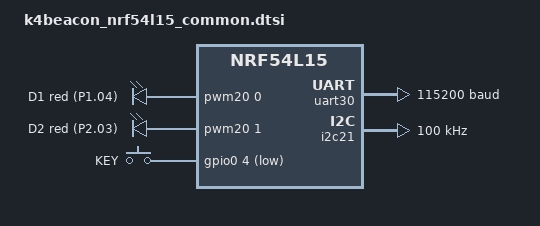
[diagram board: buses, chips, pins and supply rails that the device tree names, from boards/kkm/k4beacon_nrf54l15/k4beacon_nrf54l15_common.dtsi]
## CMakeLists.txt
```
cmake_minimum_required(VERSION 3.20.0)

# The K4 board definition is out-of-tree, shipped inside this project at
# boards/kkm/k4beacon_nrf54l15/.
list(APPEND BOARD_ROOT ${CMAKE_CURRENT_SOURCE_DIR})

find_package(Zephyr REQUIRED HINTS $ENV{ZEPHYR_BASE})

project(k4hello)

target_include_directories(app PRIVATE
    ${CMAKE_CURRENT_SOURCE_DIR}/../../../include  # aura_radio.h - protocol truth
    ${CMAKE_CURRENT_SOURCE_DIR}/../../common      # aura_band.h  - shared band layer
)

target_sources(app PRIVATE src/main.c)

target_sources_ifdef(CONFIG_K4_APP_SWEEP  app PRIVATE src/pin_sweep.c)
target_sources_ifdef(CONFIG_K4_APP_BEACON   app PRIVATE src/beacon_app.c)
target_sources_ifdef(CONFIG_K4_APP_PINPROBE app PRIVATE src/pin_probe.c)

# Same switch the pixel module uses: the shared band layer needs the 802.15.4
# stack, so key it off the Kconfig rather than a second CMake flag that has to
# agree with it.
if((CONFIG_K4_APP_BEACON OR CONFIG_K4_APP_PINPROBE) AND CONFIG_IEEE802154)
  target_sources(app PRIVATE ../../common/aura_band.c)
endif()
```

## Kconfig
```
# SPDX-License-Identifier: Apache-2.0

choice K4_APP
	prompt "K4 application"
	default K4_APP_BEACON

config K4_APP_BEACON
	bool "Aetherfield v2 band (default)"
	help
	  Joins the fleet using the shared AURA/common/aura_band.c and paints
	  the commanded colour onto both red LEDs. Watch for it on the gateway
	  console; drive it with `aura color` / `aura anim`.

config K4_APP_PINPROBE
	bool "Radio-narrated GPIO pin probe"
	help
	  Beacons normally AND walks every GPIO, announcing each pin over the
	  radio just before driving it. Watch the LED, read the pin off the
	  gateway log. Needs no console and no schematic.

config K4_APP_SWEEP
	bool "Offline GPIO pin sweep"
	help
	  Timed walk of all 32 GPIOs, radio off, read with a stopwatch.
	  Pair with overlays/sweep.overlay. Superseded by the radio probe.

config K4_APP_BREATHE
	bool "Hello world: pulse one LED"
	help
	  Identifies both LEDs with a flash count, then breathes one of them.
	  Radio off.

endchoice

config K4_BREATHE_D2
	bool "Breathe D2 (P2.03) instead of D1 (P1.04)"
	depends on K4_APP_BREATHE
	help
	  Which LED the hello-world breathes. D1 is the default on the
	  assumption that it is the top one; the app's boot flashes identify
	  both, so switch here if the count says otherwise.


source "Kconfig.zephyr"
```

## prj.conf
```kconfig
# ============================================================================
# K4 Beacon (nRF54L15) -- Aetherfield v2 band (default application)
#
# Joins the fleet using the shared AURA/common/aura_band.c and paints the
# commanded colour onto the two red LEDs.
#
# Matched deliberately to AURA/pixel-xiao-nRF54 and AURA/seeedFirmware, which
# are WORKING BANDS on this silicon running the identical aura_band.c.
# ============================================================================

# --- 802.15.4 raw mode: the driver hands full PSDUs to the band layer's
#     net_recv_data() override, same mechanism as the gateway. ---
CONFIG_NETWORKING=y
CONFIG_IEEE802154=y
CONFIG_IEEE802154_RAW_MODE=y
CONFIG_NET_PKT_TIMESTAMP=y
CONFIG_NRF_802154_RX_BUFFERS=120

# --- The FICR device id becomes the 16-bit short address: no provisioning ---
CONFIG_HWINFO=y

# --- The two red LEDs, D1 on P1.04 and D2 on P2.03 (PWM20 OUT0 / OUT1) ---
CONFIG_PWM=y
CONFIG_GPIO=y

# --- main() stack ---
#
# NOT a tuning knob. main() runs the whole of aura_band_init(); MPSL and the
# 802.15.4 stack come up underneath it. The Seeed board defconfig supplies
# 3584 for exactly this reason -- our K4 board defconfig does not, so it must
# be stated here or Zephyr's much smaller default applies.
#
# The failure mode is not a clean stack-overflow fault: it scribbles into low
# RAM, which is where .data lives (_sw_isr_table, the net_buf pools). Both were
# seen corrupted on the pixel module. Do not lower this.
CONFIG_MAIN_STACK_SIZE=3584

# --- LF clock: internal RC ---
# The 32.768 kHz crystal IS fitted (X1, 7 pF), but the correct
# load-capacitance-femtofarad is unsettled -- see the note in the board .dts.
# Calibrated RC is ~250 ppm and fine for beaconing. Switch with
# lfxo.conf + overlays/lfxo.overlay when SYNC accuracy matters.
CONFIG_CLOCK_CONTROL_NRF_K32SRC_RC=y

# --- Console on UART30, P0.00 / P0.01 test points ---
#
# This board's first real console. The gateway is still the more convenient
# one (no wiring), but a serial line sees boot failures the radio never
# reaches. Strip both with lowpower.conf for battery operation.
CONFIG_LOG=y
CONFIG_LOG_BACKEND_UART=y

# --- Power: DCDC (L3 4.7 uH is populated -- see the board .dts) ---
CONFIG_REGULATOR=y
```

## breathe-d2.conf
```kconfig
# Pulse D2 (P2.03) instead of D1 (P1.04).
# Add ALONGSIDE breathe.conf, not instead of it.
CONFIG_K4_BREATHE_D2=y
```

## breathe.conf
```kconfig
# ============================================================================
# K4 hello world -- pulse one LED.
#
#     Extra Kconfig fragments: breathe.conf
#     (add breathe-d2.conf as well to pulse the other LED)
#
# What you should see, in order:
#
#     1 flash   D1  (P1.04)      <- watch which face this is on
#     2 flashes D2  (P2.03)
#     then a continuous ~3 s breathe on D1
#
# D1 is assumed to be the TOP LED, by elimination: D2/P2.03 is the one that lit
# during the pin probe while the bottom face was being watched. The schematic
# names nets, not faces, so the flash count above is what actually settles it.
# If D1 turns out to be the bottom one, add breathe-d2.conf.
#
# Radio off -- this is a pure LED test. The default (no fragment) build keeps
# the radio and drives both LEDs from the gateway instead.
# ============================================================================

CONFIG_K4_APP_BREATHE=y
CONFIG_PWM=y

CONFIG_NETWORKING=n
CONFIG_IEEE802154=n
```

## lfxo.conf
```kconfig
# Select the 32.768 kHz crystal instead of the internal RC.
# Use TOGETHER with overlays/lfxo.overlay -- the Kconfig choice and the
# devicetree node have to agree or the board waits on a clock it never gets.
CONFIG_CLOCK_CONTROL_NRF_K32SRC_XTAL=y
```

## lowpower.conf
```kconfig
# ============================================================================
# K4 -- low-power fragment. Layer on top of prj.conf for battery operation.
#
# Strips the UART console and logging. Keep it as a SEPARATE build
# configuration rather than editing prj.conf: losing the console is what makes
# a misbehaving board undiagnosable, and bring-up should stay one click away.
# ============================================================================

CONFIG_SERIAL=n
CONFIG_UART_CONSOLE=n
CONFIG_CONSOLE=n
CONFIG_LOG=n
CONFIG_BOOT_BANNER=n
CONFIG_NCS_BOOT_BANNER=n
```

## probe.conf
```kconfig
# ============================================================================
# K4 -- radio-narrated GPIO pin probe.
#
#     Extra Kconfig fragments: probe.conf
#
# Largely of historical interest now that the schematic has landed: the LEDs
# are D1 = P1.04 and D2 = P2.03, both active high. Kept because it is the tool
# that found them, and because it is the right first move on the next unknown
# board.
# ============================================================================

CONFIG_K4_APP_PINPROBE=y

# P1.02 / P1.03 are NFC1 / NFC2 and refuse gpio_pin_configure while NFCT owns
# them. The schematic shows nothing attached to either, so this is no longer
# needed to find anything -- left on so the probe reports honestly rather than
# logging two s=3 refusals.
#
# UICR is written at boot and takes effect after a RESET: power-cycle once
# after flashing. Reversible with a mass-erase.
CONFIG_NFCT_PINS_AS_GPIOS=y
```

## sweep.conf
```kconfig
# ============================================================================
# K4 -- GPIO pin sweep instead of the beacon.
#
#     Extra Kconfig fragments  : sweep.conf
#     Extra devicetree overlays: overlays/sweep.overlay
#
# The overlay disables pwm20 so the sweep can drive P1.10 as a plain GPIO.
# ============================================================================

CONFIG_K4_APP_SWEEP=y

# The sweep does not use the radio; dropping it keeps the image small and
# removes MPSL from the boot path, so a sweep that stays dark is a shorter
# list of suspects.
CONFIG_NETWORKING=n
CONFIG_IEEE802154=n
```

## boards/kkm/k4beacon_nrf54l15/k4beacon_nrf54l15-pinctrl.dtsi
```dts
/*
 * Copyright (c) 2026
 * SPDX-License-Identifier: Apache-2.0
 *
 * K4 Beacon pin control -- FROM THE SCHEMATIC (K4_nRF54L15_SCH V1.1),
 * received 2026-09-11. No longer inferred from anything.
 *
 *   LED1  D1  red 0603, R1 1 k   P1.04/AIN0   PWM20 OUT0
 *   LED2  D2  red 0603, R3 1 k   P2.03        PWM20 OUT1
 *   KEY   SW1 to GND             P0.04
 *   RXD                          P0.00        UART30
 *   TXD                          P0.01        UART30
 *   SCL   LIS2DW12               P1.08/CLK16M I2C21
 *   SDA   LIS2DW12               P1.06/AIN2   I2C21
 *   INT1  LIS2DW12               P1.13/AIN6
 *   INT2  LIS2DW12               P1.14/AIN7
 *   (P1.05/AIN1 is labelled OUTPUT in the schematic's signal table with no
 *    component attached -- purpose unknown, left alone.)
 *
 * BOTH LEDs ARE ACTIVE HIGH: each net goes through a 1 k resistor into the
 * LED anode, cathode to GND. The K7's part is common-anode, i.e. the opposite,
 * which is why the K7-derived guess could never have worked.
 *
 * THE UART IS UART30, NOT UART20. P0.00/P0.01 are in the nRF54L15 low-power
 * domain, which only the "30" peripheral instances can reach. A uart20 on
 * these pins would build and then do nothing.
 */

&pinctrl {
	/omit-if-no-ref/ pwm20_default: pwm20_default {
		group1 {
			psels = <NRF_PSEL(PWM_OUT0, 1, 4)>,
				<NRF_PSEL(PWM_OUT1, 2, 3)>;
		};
	};

	/omit-if-no-ref/ pwm20_sleep: pwm20_sleep {
		group1 {
			psels = <NRF_PSEL(PWM_OUT0, 1, 4)>,
				<NRF_PSEL(PWM_OUT1, 2, 3)>;
			low-power-enable;
		};
	};

	/omit-if-no-ref/ uart30_default: uart30_default {
		group1 {
			psels = <NRF_PSEL(UART_TX, 0, 1)>;
		};
		group2 {
			psels = <NRF_PSEL(UART_RX, 0, 0)>;
			bias-pull-up;
		};
	};

	/omit-if-no-ref/ uart30_sleep: uart30_sleep {
		group1 {
			psels = <NRF_PSEL(UART_TX, 0, 1)>,
				<NRF_PSEL(UART_RX, 0, 0)>;
			low-power-enable;
		};
	};

	/omit-if-no-ref/ i2c21_default: i2c21_default {
		group1 {
			psels = <NRF_PSEL(TWIM_SDA, 1, 6)>,
				<NRF_PSEL(TWIM_SCL, 1, 8)>;
			bias-pull-up;
		};
	};

	/omit-if-no-ref/ i2c21_sleep: i2c21_sleep {
		group1 {
			psels = <NRF_PSEL(TWIM_SDA, 1, 6)>,
				<NRF_PSEL(TWIM_SCL, 1, 8)>;
			low-power-enable;
		};
	};
};
```

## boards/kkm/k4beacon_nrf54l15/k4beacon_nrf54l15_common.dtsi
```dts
/*
 * Copyright (c) 2026
 * SPDX-License-Identifier: Apache-2.0
 */

#include "k4beacon_nrf54l15-pinctrl.dtsi"
#include <zephyr/dt-bindings/pwm/pwm.h>
#include <zephyr/dt-bindings/gpio/gpio.h>
#include <zephyr/dt-bindings/input/input-event-codes.h>

/ {
	/*
	 * Two single-colour RED LEDs, both ACTIVE HIGH (1 k series resistor
	 * into the anode, cathode to GND). PWM_POLARITY_NORMAL: duty 0 % off,
	 * 100 % full.
	 *
	 * Brightness ceiling, worth knowing before designing any animation:
	 * 1 k from a ~3.0 V cell with a red Vf of ~1.9 V is about 1.1 mA. That
	 * is an indicator, not an illuminator -- the same concession the
	 * Holyiot 25008 makes with its 1 k RGB resistors. It is also why a
	 * whole GPIO sweep could flash these without anyone noticing.
	 *
	 * 1 kHz period: flicker-free on camera, and 16 MHz / 1 kHz = 16000
	 * counts, under the nRF PWM COUNTERTOP limit of 32767.
	 */
	pwmleds: pwmleds {
		compatible = "pwm-leds";

		led_d1: led_d1 {
			pwms = <&pwm20 0 PWM_USEC(1000) PWM_POLARITY_NORMAL>;
			label = "D1 red (P1.04)";
		};

		led_d2: led_d2 {
			pwms = <&pwm20 1 PWM_USEC(1000) PWM_POLARITY_NORMAL>;
			label = "D2 red (P2.03)";
		};
	};

	/* SW1 (1TS002B-1600-5001) to GND on net KEY. No external pull-up on
	 * the schematic, so the internal one is not optional. */
	buttons: buttons {
		compatible = "gpio-keys";

		usr_btn: usr-btn {
			gpios = <&gpio0 4 (GPIO_PULL_UP | GPIO_ACTIVE_LOW)>;
			label = "KEY";
			zephyr,code = <INPUT_KEY_0>;
		};
	};

	aliases {
		led0 = &led_d1;
		led1 = &led_d2;
		pwm-led0 = &led_d1;
		pwm-led1 = &led_d2;
		sw0 = &usr_btn;
	};
};

&pwm20 {
	pinctrl-0 = <&pwm20_default>;
	pinctrl-1 = <&pwm20_sleep>;
	pinctrl-names = "default", "sleep";
};

&uart30 {
	current-speed = <115200>;
	pinctrl-0 = <&uart30_default>;
	pinctrl-1 = <&uart30_sleep>;
	pinctrl-names = "default", "sleep";
};

&i2c21 {
	compatible = "nordic,nrf-twim";
	clock-frequency = <I2C_BITRATE_STANDARD>;
	pinctrl-0 = <&i2c21_default>;
	pinctrl-1 = <&i2c21_sleep>;
	pinctrl-names = "default", "sleep";

	/*
	 * LIS2DW12TR. CS tied to VDDS selects I2C; SDO/SA0 also tied to VDDS,
	 * so the 7-bit address is 0x19 (it would be 0x18 with SA0 low).
	 * Enable with CONFIG_I2C=y, CONFIG_SENSOR=y, CONFIG_LIS2DW12=y.
	 */
	lis2dw12: lis2dw12@19 {
		compatible = "st,lis2dw12";
		reg = <0x19>;
		status = "disabled";
		irq-gpios = <&gpio1 13 GPIO_ACTIVE_HIGH>,
			    <&gpio1 14 GPIO_ACTIVE_HIGH>;
	};
};
```

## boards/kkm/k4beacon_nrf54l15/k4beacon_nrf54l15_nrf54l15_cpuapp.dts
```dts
/*
 * Copyright (c) 2026
 * SPDX-License-Identifier: Apache-2.0
 *
 * KKM K4 Beacon, nRF54L15 (QFAA die, 1.5 MB RRAM / 256 kB RAM).
 *
 * Built from the schematic K4_nRF54L15_SCH V1.1 (2026-09-11). The earlier
 * revision of this file was inferred from the K7 and was wrong about the LED
 * port, the LED polarity, the button pin and the UART instance. Nothing here
 * is a guess any more except where it says so.
 */

/dts-v1/;
#include <nordic/nrf54l15_cpuapp.dtsi>
#include "k4beacon_nrf54l15_common.dtsi"

/ {
	model = "KKM K4 Beacon nRF54L15";
	compatible = "kkm,k4beacon-nrf54l15-cpuapp";

	chosen {
		zephyr,sram = &cpuapp_sram;
		zephyr,flash = &cpuapp_rram;
		zephyr,flash-controller = &rram_controller;
		zephyr,console = &uart30;
		zephyr,shell-uart = &uart30;
		zephyr,ieee802154 = &ieee802154;
	};
};

&cpuapp_sram {
	status = "okay";
};

&grtc {
	owned-channels = <0 1 2 3 4 5 6 7 8 9 10 11>;
	/* Channels 7-11 reserved for Zero Latency IRQs, 3-4 for FLPR */
	child-owned-channels = <3 4 7 8 9 10 11>;
	status = "okay";
};

&clock {
	status = "okay";
};

&pwm20 {
	status = "okay";
};

/* Console on the RXD / TXD test points, P0.00 / P0.01.
 * UART30, not UART20: P0 is the low-power domain and only the "30"
 * instances reach it. This board's first real console. */
&uart30 {
	status = "okay";
};

/* LIS2DW12 bus. The sensor node itself is disabled until someone needs it. */
&i2c21 {
	status = "okay";
};

&gpio0 {
	status = "okay";
};

&gpio1 {
	status = "okay";
};

&gpio2 {
	status = "okay";
};

&gpiote20 {
	status = "okay";
};

&gpiote30 {
	status = "okay";
};

&regulators {
	status = "okay";
};

/*
 * DCDC, not LDO. CONFIRMED: L3 = 4.7 uH is populated on the DCC pin with
 * C3 2.2 uF, so the buck is a real option on this board and costs less
 * current than the LDO. Earlier revisions of this file kept LDO only because
 * the inductor could not be verified.
 */
&vregmain {
	status = "okay";
	regulator-initial-mode = <NRF5X_REG_MODE_DCDC>;
};

/*
 * HFXO: 32 MHz / 8 pF / +/-10 ppm (X2), no discrete load caps.
 * The 8000 fF internal setting was a guess carried over from the K7 and the
 * schematic confirms it -- it is why the radio worked first time.
 */
&hfxo {
	load-capacitors = "internal";
	load-capacitance-femtofarad = <8000>;
	status = "okay";
};

/*
 * LFXO: X1 = 32.768 kHz / 7 pF / +/-20 ppm IS FITTED, on P1.00/XL1 and
 * P1.01/XL2. Still left DISABLED here, deliberately, for one reason: the
 * correct value for load-capacitance-femtofarad is not settled.
 *
 * KKM's own reference overlay says 14000 (2x the crystal's 7 pF CL), which
 * matches how Nordic's own boards set this property -- the nRF54L15-DK uses
 * 15500 for a crystal whose CL is nothing like that, so the property is the
 * internal capacitor value, not the crystal spec. Our K7 board uses 7000 for
 * a 7 pF crystal, which by that reading is wrong and worth re-checking there.
 *
 * Calibrated LFRC (~250 ppm) is running today and is fine for beaconing. Move
 * to the crystal with overlays/lfxo.overlay when SYNC accuracy starts to
 * matter -- one change, one test.
 */
&lfxo {
	status = "disabled";
};

&ieee802154 {
	status = "okay";
};

&radio {
	status = "okay";
};

&temp {
	status = "okay";
};

/*
 * No MCUboot / fixed-partition table: the application links to the base of
 * cpuapp_rram and boots directly after a J-Link flash.
 */
```

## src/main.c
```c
/*
 * K4 Beacon (nRF54L15) -- application dispatch.
 *
 * Four applications, one per build configuration (Kconfig choice K4_APP):
 *
 *   default        Aetherfield v2 band. Joins the fleet and paints the
 *                  commanded colour onto both LEDs.
 *   breathe.conf   Hello world: pulse one LED. Radio off.
 *   probe.conf     Radio-narrated walk of all 32 GPIOs (found the LEDs).
 *   sweep.conf     Offline stopwatch version of the same.
 *
 * SPDX-License-Identifier: Apache-2.0
 */

#include <zephyr/kernel.h>
#include <zephyr/logging/log.h>

LOG_MODULE_REGISTER(k4_hello, LOG_LEVEL_INF);

#if defined(CONFIG_K4_APP_BEACON)

int k4_beacon_app(void);

int main(void)
{
	return k4_beacon_app();
}

#elif defined(CONFIG_K4_APP_PINPROBE)

int k4_pin_probe_app(void);

int main(void)
{
	return k4_pin_probe_app();
}

#elif defined(CONFIG_K4_APP_SWEEP)

#include "pin_sweep.h"

int main(void)
{
	k4_pin_sweep();
	return 0;
}

#else /* CONFIG_K4_APP_BREATHE -- hello world */

#include <zephyr/drivers/pwm.h>

/*
 * Both LEDs, from the schematic: D1 red on P1.04 (PWM20 OUT0), D2 red on
 * P2.03 (PWM20 OUT1). Both ACTIVE HIGH through 1 k, so PWM_POLARITY_NORMAL
 * and about 1.1 mA at full duty off a 3 V cell.
 */
static const struct pwm_dt_spec d1 = PWM_DT_SPEC_GET(DT_NODELABEL(led_d1));
static const struct pwm_dt_spec d2 = PWM_DT_SPEC_GET(DT_NODELABEL(led_d2));

/*
 * WHICH ONE IS THE TOP LED?
 *
 * D1 is the working assumption, by elimination: D2/P2.03 is the one that lit
 * during the pin probe while the BOTTOM face was being watched. That is an
 * inference from where someone was looking, not a fact from the schematic --
 * the schematic names the nets, not the faces.
 *
 * So this app does not just assume it. The boot sequence below identifies each
 * LED unambiguously before the breathe starts, and if the count says otherwise
 * the fix is one fragment: breathe-d2.conf.
 */
#ifdef CONFIG_K4_BREATHE_D2
#define BREATHE_LED d2
#define OTHER_LED   d1
#else
#define BREATHE_LED d1
#define OTHER_LED   d2
#endif

#define BREATHE_STEPS   256
#define BREATHE_STEP_MS 6            /* -> ~3.1 s per full breath */

#define ID_FLASH_MS     140
#define ID_GAP_MS       200

/*
 * Brightness ladder, held steady after the identification flashes:
 * 25 %, 50 %, 100 % for a second and a half each.
 *
 * The breathe only touches full duty for about 6 ms at the top of each
 * ~3.1 s cycle, which is far too brief to judge. If you want to know how
 * bright this LED actually gets, the third rung is the answer -- that is
 * 100 % duty, held.
 */
#define LADDER_HOLD_MS  1500

static void set(const struct pwm_dt_spec *led, uint32_t level255)
{
	/*
	 * Squaring approximates gamma: a linear duty ramp looks like it slams
	 * on and then crawls. At the bottom of the ramp this rounds below one
	 * PWM tick, which is what gives a clean full-off.
	 */
	uint32_t pulse = (uint32_t)(((uint64_t)led->period * level255 * level255) /
				    (255u * 255u));

	pwm_set_pulse_dt(led, pulse);
}

/* Flash one LED n times, leaving it off. */
static void identify(const struct pwm_dt_spec *led, int n)
{
	for (int i = 0; i < n; i++) {
		set(led, 255);
		k_msleep(ID_FLASH_MS);
		set(led, 0);
		k_msleep(ID_GAP_MS);
	}
}

int main(void)
{
	uint32_t cycle = 0;

	LOG_INF("K4 hello world -- LED breathe");

	if (!pwm_is_ready_dt(&d1) || !pwm_is_ready_dt(&d2)) {
		LOG_ERR("PWM not ready -- check CONFIG_PWM=y and pwm20 status");
		return -ENODEV;
	}

	set(&d1, 0);
	set(&d2, 0);
	k_msleep(400);

	/*
	 * Identification, once, before anything else:
	 *
	 *   ONE  flash  = D1, P1.04
	 *   TWO  flashes = D2, P2.03
	 *
	 * Watch which face each appears on. Then the LED that breathes
	 * afterwards is D1 unless CONFIG_K4_BREATHE_D2=y. This board has no
	 * console wired by default, so the LEDs have to say it themselves.
	 */
	identify(&d1, 1);
	k_msleep(700);
	identify(&d2, 2);
	k_msleep(1200);

	/* Brightness ladder on the LED that is about to breathe. */
	{
		static const uint32_t rungs[] = { 64, 128, 255 };

		for (int i = 0; i < (int)ARRAY_SIZE(rungs); i++) {
			set(&BREATHE_LED, rungs[i]);
			k_msleep(LADDER_HOLD_MS);
		}
		set(&BREATHE_LED, 0);
		k_msleep(600);
	}

	LOG_INF("breathing %s (the other LED stays dark)",
		IS_ENABLED(CONFIG_K4_BREATHE_D2) ? "D2 / P2.03" : "D1 / P1.04");

	/* The non-breathing LED is explicitly parked off, so "which one is
	 * pulsing" is never ambiguous. */
	set(&OTHER_LED, 0);

	while (1) {
		for (uint32_t step = 0; step < 2U * BREATHE_STEPS; step++) {
			uint32_t level = (step <= BREATHE_STEPS)
					       ? step
					       : (2U * BREATHE_STEPS - step);

			/* step runs 0..2*STEPS with STEPS=256, so level is
			 * 0..256; clamp the single overshoot to 255. */
			set(&BREATHE_LED, level > 255u ? 255u : level);
			k_msleep(BREATHE_STEP_MS);
		}
		LOG_INF("breath %u", ++cycle);
	}

	return 0;
}

#endif /* K4_APP */
```

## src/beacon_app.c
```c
/*
 * K4 Beacon -- Aetherfield v2 band, now with light.
 *
 * Joins the fleet through the shared band layer (AURA/common/aura_band.c),
 * the same code the wristband and pixel module run, and paints the commanded
 * colour onto the K4's two red LEDs.
 *
 * v2 treats every device as ONE light source however many LEDs it carries, so
 * the render callback collapses the commanded RGB to a single luminance and
 * drives both LEDs together. The wristband spreads that triple across four
 * LP5012 channels, the pixel module writes one WS2812, and the K4 does this.
 * Same command, same animation maths, different final centimetre.
 *
 * Gateway:  aura color 255 0 0     -> both LEDs full
 *           aura color 0 0 255     -> dim (blue weighs ~7% of luminance)
 *           aura anim 1 0 255 0 0  -> animated
 *
 * SPDX-License-Identifier: Apache-2.0
 */

#include <zephyr/kernel.h>
#include <zephyr/drivers/pwm.h>
#include <zephyr/logging/log.h>

#include "aura_band.h"

LOG_MODULE_DECLARE(k4_hello, LOG_LEVEL_INF);

static const struct pwm_dt_spec led_d1 = PWM_DT_SPEC_GET(DT_NODELABEL(led_d1));
static const struct pwm_dt_spec led_d2 = PWM_DT_SPEC_GET(DT_NODELABEL(led_d2));

/*
 * Both LEDs are red at 1 k, so about 1.1 mA each off a 3 V cell. They are
 * indicators, not illuminators -- do not expect a colour cue to read across a
 * room, and do not raise CONFIG on the assumption that more duty means more
 * light. The resistor sets the ceiling, not us.
 */

/* Rec. 709 luma, integer. Mono hardware has to collapse colour somehow, and
 * perceived brightness is the collapse that keeps a fade looking like a fade. */
static inline uint8_t luma(uint8_t r, uint8_t g, uint8_t b)
{
	return (uint8_t)(((54u * r) + (183u * g) + (19u * b)) >> 8);
}

/*
 * Called from the band's animation thread at ~50 Hz. Must not block.
 *
 * Squaring the level approximates gamma: a linear duty ramp looks like it
 * slams on and then crawls, which makes every fade in the show look wrong on
 * this board while looking right on the others.
 */
static void render(uint8_t r, uint8_t g, uint8_t b)
{
	uint32_t level = luma(r, g, b);
	uint32_t pulse = (uint32_t)(((uint64_t)led_d1.period * level * level) /
				    (255u * 255u));

	pwm_set_pulse_dt(&led_d1, pulse);
	pwm_set_pulse_dt(&led_d2, pulse);
}

/*
 * Capabilities.
 *
 * MULTI_LED only, deliberately. The schematic shows a KEY button (P0.04) and a
 * LIS2DW12 (I2C 0x19, INT1/INT2 on P1.13/P1.14) are FITTED, but this firmware
 * does not yet drive either, and caps is how the gateway tells "correctly
 * ignoring a field" from "dead". It should describe what this build honours,
 * not what the PCB carries. Add AURA_CAP_BUTTON and AURA_CAP_ACCEL as each is
 * actually wired up.
 *
 * Note the gap this board exposes in the protocol: the two LEDs are single
 * colour, which is neither AURA_CAP_RGB_LED nor nothing, and the caps bitmap
 * has all 8 bits allocated with no room for a "mono LED" bit. MULTI_LED
 * without RGB_LED is the closest honest encoding today -- "I have lights, I
 * have no colour".
 */
#define K4_CAPS       AURA_CAP_MULTI_LED

/* Wristband is 0x01 and the pixel module 0x02, so the K4 can be addressed on
 * its own (`aura group 04`) or with them (`aura group 07`). */
#define K4_GROUP_MASK 0x04

int k4_beacon_app(void)
{
	int err;

	static const struct aura_band_cfg cfg = {
		.caps        = K4_CAPS,
		.group_mask  = K4_GROUP_MASK,
		.render      = render,
		.battery_pct = NULL,  /* see note below */

		/* XIAO-only antenna switch; the K4 has no rfsw_ctl node, so the
		 * band layer compiles this out entirely. Stated rather than
		 * omitted so nobody reads the omission as an oversight. */
		.antenna_external = false,

		/* The LEDs are known now, so a boot trace could be blinked --
		 * but the board finally has a real console on UART30, which
		 * says more. Left NULL. */
		.progress = NULL,
	};

	LOG_INF("K4 -- Aetherfield v2 band, 2x red LED");

	if (!pwm_is_ready_dt(&led_d1) || !pwm_is_ready_dt(&led_d2)) {
		LOG_ERR("PWM not ready -- check CONFIG_PWM and pwm20 status");
		return -ENODEV;
	}

	/* Boot signature: two flashes on both LEDs. */
	for (int i = 0; i < 2; i++) {
		render(255, 255, 255);
		k_msleep(80);
		render(0, 0, 0);
		k_msleep(160);
	}

	err = aura_band_init(&cfg);
	if (err) {
		LOG_ERR("aura_band_init failed: %d", err);
		return err;
	}

	LOG_INF("band up, addr=%04X group=%02X caps=%02X",
		aura_band_addr(), K4_GROUP_MASK, K4_CAPS);

	/*
	 * battery_pct is still NULL. The schematic has no divider -- KKM's
	 * reference measures the rail directly with SAADC on NRF_SAADC_VDD
	 * (gain 1/4, internal ref), which needs no pin at all. That is the way
	 * to finally replace batt=0xFF on this board, and it would be the
	 * first band in the fleet to report a real percentage.
	 */

	/* The band layer owns its threads from here. */
	return 0;
}
```

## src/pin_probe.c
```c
/*
 * K4 -- radio-narrated GPIO pin probe, with gateway-driven manual hold.
 *
 * Two things at once:
 *
 *   AUTO SWEEP   walks every GPIO, announcing each pin over the radio just
 *                before driving it. Watch the LED, read the pin off the log.
 *
 *   MANUAL HOLD  drive ONE named pin indefinitely, commanded from the gateway.
 *                This is the mode for putting a MULTIMETER on the LED pads --
 *                a 2 s sweep slot is not long enough to probe calmly, and a
 *                dim LED that the eye misses is plainly visible as a voltage
 *                step. It also forces pins the auto sweep will not drive.
 *
 * ------------------------------------------------------------------------
 * Gateway -> K4:   aura color <pincode> <mode> 0
 * ------------------------------------------------------------------------
 *
 *   <pincode> = port*100 + pin   (110 = P1.10, 4 = P0.04, 210 = P2.10)
 *   <mode>    0  hold SINKING     (open-drain low)  -> active-low LED
 *             1  hold SOURCING    (push-pull high)  -> active-high LED
 *             2  RELEASE, resume the automatic sweep
 *             3  hold SOURCING at high drive strength
 *
 * The command doubles as the downlink test: `cseq` in the next BEACON should
 * change to this command's seq. If it does, the K4 is receiving as well as
 * transmitting.
 *
 * ------------------------------------------------------------------------
 * K4 -> gateway
 * ------------------------------------------------------------------------
 *
 *     <EVT a=4C51 n=0 r=-55 t=? v=110 s=0
 *                                 |     |
 *                                 |     +-- what happened
 *                                 +-------- v = port*100 + pin
 *
 *   v = 254  pass marker      v = 255  cycle marker
 *
 *   s = 0  sweep: driven open-drain, sinking   (active-low LED)
 *   s = 1  sweep: driven push-pull, sourcing   (active-high LED)
 *   s = 2  sweep: skipped, on the push-pull skip list
 *   s = 3  gpio_pin_configure refused it
 *   s = 4  HELD sinking          s = 5  HELD sourcing
 *   s = 6  HELD sourcing, high drive
 *   s = 7  released, sweep resumed
 *   s = 8  unknown pin code in the command
 *
 * `t=?` is expected: 0x7E is a bring-up event type, deliberately absent from
 * include/aura_radio.h so this costs no protocol change and no gateway
 * reflash.
 *
 * The event is sent BEFORE the pin is driven. If a pin drives an RF switch or
 * a power rail, the radio dies the moment it is touched and the last <EVT line
 * names it. Silence in the log is a result, not a lost run.
 *
 * SPDX-License-Identifier: Apache-2.0
 */

#include <zephyr/kernel.h>
#include <zephyr/device.h>
#include <zephyr/drivers/gpio.h>
#include <zephyr/logging/log.h>

/* High drive strength is a Nordic GPIO flag extension. Guarded because this
 * project cannot be compile-tested from the cloud session: if the binding
 * header is not where we expect, mode 3 quietly becomes standard drive rather
 * than failing the build. */
#if defined(__has_include)
#  if __has_include(<zephyr/dt-bindings/gpio/nordic-nrf-gpio.h>)
#    include <zephyr/dt-bindings/gpio/nordic-nrf-gpio.h>
#  endif
#endif
#ifndef NRF_GPIO_DRIVE_H0H1
#define NRF_GPIO_DRIVE_H0H1 0
#endif

#include "aura_band.h"

LOG_MODULE_DECLARE(k4_hello, LOG_LEVEL_INF);

#define EV_PINPROBE      0x7E

#define V_PASS_MARKER    254
#define V_CYCLE_MARKER   255

#define S_OPEN_DRAIN     0
#define S_PUSH_PULL      1
#define S_SKIPPED        2
#define S_REFUSED        3
#define S_HELD_SINK      4
#define S_HELD_SOURCE    5
#define S_HELD_SOURCE_HD 6
#define S_RELEASED       7
#define S_BAD_PINCODE    8

/* Command modes, as sent in the CMD frame's r/g bytes. */
#define MODE_SINK        0
#define MODE_SOURCE      1
#define MODE_RELEASE     2
#define MODE_SOURCE_HD   3

#define SLOT_MS          2000
#define SLOT_ON_MS       1600
#define PASS_GAP_MS      4000
#define CYCLE_GAP_MS     6000
#define POLL_MS          100

/*
 * Boot signature on the confirmed LED D2 (P2.03, active high). Three red
 * flashes before any sweeping starts.
 *
 * NOTE the correction: this probe originally reported the LED at v=202. The
 * schematic puts LED2 on P2.03 and nothing at all on P2.02 -- the sighting was
 * the ADJACENT SLOT, i.e. the flash was matched to the log line printed two
 * seconds earlier. Worth remembering when reading any timed probe by eye.
 *
 * This board has no console, so until now a reset was invisible. Now that one
 * pin is confirmed, it can say "I booted, and the pin configuration is right"
 * in the one second before the log fills with probe events -- which also means
 * a failed flash or a halted core is obvious without reading anything.
 */
#define KNOWN_LED_CODE   203
#define BOOT_FLASHES     3
#define BOOT_FLASH_MS    120

struct probe_pin {
	const struct device *dev;
	uint8_t port;
	uint8_t pin;
};

/* Written out entry by entry: this project cannot be compile-tested from the
 * cloud session, so a list macro that expands wrongly costs a build cycle.
 * Port sizes from the SoC devicetree: P0 = 5, P1 = 16, P2 = 11. */
static const struct probe_pin pins[] = {
	{ DEVICE_DT_GET(DT_NODELABEL(gpio0)), 0,  0 },
	{ DEVICE_DT_GET(DT_NODELABEL(gpio0)), 0,  1 },
	{ DEVICE_DT_GET(DT_NODELABEL(gpio0)), 0,  2 },
	{ DEVICE_DT_GET(DT_NODELABEL(gpio0)), 0,  3 },
	{ DEVICE_DT_GET(DT_NODELABEL(gpio0)), 0,  4 },
	{ DEVICE_DT_GET(DT_NODELABEL(gpio1)), 1,  0 },
	{ DEVICE_DT_GET(DT_NODELABEL(gpio1)), 1,  1 },
	{ DEVICE_DT_GET(DT_NODELABEL(gpio1)), 1,  2 },
	{ DEVICE_DT_GET(DT_NODELABEL(gpio1)), 1,  3 },
	{ DEVICE_DT_GET(DT_NODELABEL(gpio1)), 1,  4 },
	{ DEVICE_DT_GET(DT_NODELABEL(gpio1)), 1,  5 },
	{ DEVICE_DT_GET(DT_NODELABEL(gpio1)), 1,  6 },
	{ DEVICE_DT_GET(DT_NODELABEL(gpio1)), 1,  7 },
	{ DEVICE_DT_GET(DT_NODELABEL(gpio1)), 1,  8 },
	{ DEVICE_DT_GET(DT_NODELABEL(gpio1)), 1,  9 },
	{ DEVICE_DT_GET(DT_NODELABEL(gpio1)), 1, 10 },
	{ DEVICE_DT_GET(DT_NODELABEL(gpio1)), 1, 11 },
	{ DEVICE_DT_GET(DT_NODELABEL(gpio1)), 1, 12 },
	{ DEVICE_DT_GET(DT_NODELABEL(gpio1)), 1, 13 },
	{ DEVICE_DT_GET(DT_NODELABEL(gpio1)), 1, 14 },
	{ DEVICE_DT_GET(DT_NODELABEL(gpio1)), 1, 15 },
	{ DEVICE_DT_GET(DT_NODELABEL(gpio2)), 2,  0 },
	{ DEVICE_DT_GET(DT_NODELABEL(gpio2)), 2,  1 },
	{ DEVICE_DT_GET(DT_NODELABEL(gpio2)), 2,  2 },
	{ DEVICE_DT_GET(DT_NODELABEL(gpio2)), 2,  3 },
	{ DEVICE_DT_GET(DT_NODELABEL(gpio2)), 2,  4 },
	{ DEVICE_DT_GET(DT_NODELABEL(gpio2)), 2,  5 },
	{ DEVICE_DT_GET(DT_NODELABEL(gpio2)), 2,  6 },
	{ DEVICE_DT_GET(DT_NODELABEL(gpio2)), 2,  7 },
	{ DEVICE_DT_GET(DT_NODELABEL(gpio2)), 2,  8 },
	{ DEVICE_DT_GET(DT_NODELABEL(gpio2)), 2,  9 },
	{ DEVICE_DT_GET(DT_NODELABEL(gpio2)), 2, 10 },
};

/*
 * Skipped in the AUTO push-pull pass only: the LIS2DW12's INT1 / INT2 lines,
 * which are outputs from the sensor, and driving a pin another chip is also
 * driving is the one way this probe could damage something.
 *
 * CORRECTED from the schematic: these are P1.13 / P1.14, NOT the P1.06 / P1.07
 * inherited from the K7. P1.06 is SDA on this board. So the earlier runs were
 * guarding the wrong two pins and did drive the real interrupt lines -- no
 * harm done, but it was luck, not care.
 *
 * Manual hold WILL drive them: a deliberate act, not an automatic sweep.
 */
static const struct { uint8_t port, pin; } PUSH_PULL_SKIP[] = {
	{ 1, 13 },
	{ 1, 14 },
};

static bool push_pull_skipped(uint8_t port, uint8_t pin)
{
	for (size_t i = 0; i < ARRAY_SIZE(PUSH_PULL_SKIP); i++) {
		if (PUSH_PULL_SKIP[i].port == port &&
		    PUSH_PULL_SKIP[i].pin == pin) {
			return true;
		}
	}
	return false;
}

static uint8_t pin_code(const struct probe_pin *p)
{
	return (uint8_t)(p->port * 100u + p->pin);
}

static const struct probe_pin *pin_by_code(uint8_t code)
{
	for (size_t i = 0; i < ARRAY_SIZE(pins); i++) {
		if (pin_code(&pins[i]) == code) {
			return &pins[i];
		}
	}
	return NULL;
}

static void say(uint8_t value, uint8_t how)
{
	aura_band_send_event(EV_PINPROBE, value, how);
}

/* ---------------- manual hold, commanded from the gateway ---------------- */

static const struct probe_pin *g_held;
static uint8_t g_last_seq;
static bool    g_have_seq;

static void release_held(void)
{
	if (g_held) {
		gpio_pin_configure(g_held->dev, g_held->pin, GPIO_DISCONNECTED);
		g_held = NULL;
	}
}

static void apply_hold(uint8_t code, uint8_t mode)
{
	const struct probe_pin *p;
	gpio_flags_t flags;
	int active, err;
	uint8_t s;

	release_held();

	if (mode == MODE_RELEASE) {
		say(V_CYCLE_MARKER, S_RELEASED);
		return;
	}

	p = pin_by_code(code);
	if (!p || !device_is_ready(p->dev)) {
		say(code, S_BAD_PINCODE);
		return;
	}

	switch (mode) {
	case MODE_SINK:
		flags = GPIO_OUTPUT_HIGH | GPIO_OPEN_DRAIN;
		active = 0;
		s = S_HELD_SINK;
		break;
	case MODE_SOURCE_HD:
		flags = GPIO_OUTPUT_LOW | NRF_GPIO_DRIVE_H0H1;
		active = 1;
		s = S_HELD_SOURCE_HD;
		break;
	case MODE_SOURCE:
	default:
		flags = GPIO_OUTPUT_LOW;
		active = 1;
		s = S_HELD_SOURCE;
		break;
	}

	err = gpio_pin_configure(p->dev, p->pin, flags);
	if (err) {
		say(code, S_REFUSED);
		return;
	}

	say(code, s);                       /* announce before driving */
	gpio_pin_set_raw(p->dev, p->pin, active);
	g_held = p;
}

/*
 * Poll the commanded state for a new CMD. Returns true if one arrived.
 *
 * Read without the band's state mutex, which is fine here: the fields are
 * single bytes and this is a bring-up tool, not show firmware. A torn read
 * costs one repeated command, and the gateway repeats CMDs anyway.
 */
static bool poll_cmd(void)
{
	const struct aura_cmd *c = aura_band_state();
	uint8_t seq = c->seq;

	if (g_have_seq && seq == g_last_seq) {
		return false;
	}
	g_have_seq = true;
	g_last_seq = seq;

	apply_hold(c->r, c->g);
	return true;
}

/* Sleep, but return early if a command arrives. */
static bool sleep_poll(uint32_t ms)
{
	while (ms > 0) {
		uint32_t chunk = ms < POLL_MS ? ms : POLL_MS;

		k_msleep(chunk);
		ms -= chunk;
		if (poll_cmd()) {
			return true;
		}
	}
	return false;
}

/* ---------------------------- automatic sweep --------------------------- */

/* Returns true if interrupted by a command. */
static bool probe_one(const struct probe_pin *p, bool open_drain)
{
	gpio_flags_t flags = open_drain ? (GPIO_OUTPUT_HIGH | GPIO_OPEN_DRAIN)
					: GPIO_OUTPUT_LOW;
	int active = open_drain ? 0 : 1;
	uint8_t code = pin_code(p);
	int err;

	if (!open_drain && push_pull_skipped(p->port, p->pin)) {
		say(code, S_SKIPPED);
		return sleep_poll(SLOT_MS);
	}
	if (!device_is_ready(p->dev)) {
		say(code, S_REFUSED);
		return sleep_poll(SLOT_MS);
	}

	err = gpio_pin_configure(p->dev, p->pin, flags);
	if (err) {
		say(code, S_REFUSED);
		return sleep_poll(SLOT_MS);
	}

	say(code, open_drain ? S_OPEN_DRAIN : S_PUSH_PULL);

	gpio_pin_set_raw(p->dev, p->pin, active);
	if (sleep_poll(SLOT_ON_MS)) {
		return true;   /* apply_hold already took the pin over */
	}
	gpio_pin_set_raw(p->dev, p->pin, !active);
	gpio_pin_configure(p->dev, p->pin, GPIO_DISCONNECTED);

	return sleep_poll(SLOT_MS - SLOT_ON_MS);
}

static bool probe_pass(bool open_drain)
{
	say(V_PASS_MARKER, open_drain ? S_OPEN_DRAIN : S_PUSH_PULL);
	if (sleep_poll(SLOT_MS)) {
		return true;
	}
	for (size_t i = 0; i < ARRAY_SIZE(pins); i++) {
		if (probe_one(&pins[i], open_drain)) {
			return true;
		}
	}
	return false;
}

int k4_pin_probe_app(void)
{
	int err;

	static const struct aura_band_cfg cfg = {
		.caps             = 0x00,
		.group_mask       = 0x04,
		.render           = NULL,
		.battery_pct      = NULL,
		.antenna_external = false,
		.progress         = NULL,
	};

	err = aura_band_init(&cfg);
	if (err) {
		return err;
	}

	/* Boot signature on the confirmed LED, before anything else. */
	{
		const struct probe_pin *known = pin_by_code(KNOWN_LED_CODE);

		if (known && device_is_ready(known->dev) &&
		    gpio_pin_configure(known->dev, known->pin,
				       GPIO_OUTPUT_LOW) == 0) {
			for (int i = 0; i < BOOT_FLASHES; i++) {
				gpio_pin_set_raw(known->dev, known->pin, 1);
				k_msleep(BOOT_FLASH_MS);
				gpio_pin_set_raw(known->dev, known->pin, 0);
				k_msleep(BOOT_FLASH_MS * 2);
			}
			gpio_pin_configure(known->dev, known->pin,
					   GPIO_DISCONNECTED);
		}
	}

	/* Let the first beacons out so the gateway has us in its fleet table
	 * before we start talking about pins. */
	k_msleep(3000);

	while (1) {
		if (g_held) {
			/* Manual hold: the pin stays driven until told
			 * otherwise. Nothing to do but listen. */
			sleep_poll(POLL_MS * 10);
			continue;
		}

		say(V_CYCLE_MARKER, V_CYCLE_MARKER);
		if (sleep_poll(SLOT_MS)) {
			continue;
		}
		/*
		 * SOURCING FIRST. The bottom LED was found at P2.02 driven
		 * push-pull, so this board's LEDs are ACTIVE HIGH -- the
		 * sinking pass is the unlikely one here and now runs second.
		 * Watching only the s=1 lines halves the time to a result.
		 */
		if (probe_pass(false)) {
			continue;
		}
		if (sleep_poll(PASS_GAP_MS)) {
			continue;
		}
		if (probe_pass(true)) {
			continue;
		}
		sleep_poll(CYCLE_GAP_MS);
	}

	return 0;
}
```

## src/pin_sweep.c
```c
/*
 * K4 Beacon -- GPIO pin sweep, timed.
 *
 * Finds an LED whose pin is not documented, with no console and no blink
 * decoding: every GPIO gets an identical, exactly-timed slot, so the ONE
 * number you need is how many seconds after reset the LED lit.
 *
 * Timeline from reset (all constants below, table in README.md):
 *
 *     0.0 s   reset -- start the stopwatch here
 *     5.0 s   PASS A begins   open-drain, sinking     (active-LOW LED)
 *   101.0 s   PASS A ends, 8 s dark
 *   109.0 s   PASS B begins   push-pull, sourcing     (active-HIGH LED)
 *   205.0 s   PASS B ends, 10 s dark
 *   215.0 s   repeats, identically, forever
 *
 * Each slot is 3.000 s: 2.5 s lit, 0.5 s dark guard so the boundary is
 * visible. Pin order is fixed: P0.00-04, P1.00-15, P2.00-10 (32 slots).
 *
 *     slot  = floor((t - pass_start) / 3)
 *
 * Both passes use the SAME slot numbering -- a skipped or unconfigurable pin
 * stays dark for its full slot rather than shifting everything after it, so a
 * time only ever maps to one pin.
 *
 * Which pass lit it is the polarity answer: pass A means the LED is
 * common-anode / active-low, pass B means common-cathode / active-high.
 *
 * Slot boundaries are scheduled against absolute uptime, not by adding sleeps,
 * so per-call overhead cannot accumulate across a 200 s cycle. Measure twice --
 * it repeats identically.
 *
 * Pass A is open-drain: it can only sink, so it physically cannot fight another
 * chip driving the same net, and is safe on every pin. Pass B is push-pull and
 * CAN contend, so pins that are outputs on the K7 are skipped (PUSH_PULL_SKIP).
 *
 * SPDX-License-Identifier: Apache-2.0
 */

#include <zephyr/kernel.h>
#include <zephyr/device.h>
#include <zephyr/drivers/gpio.h>
#include <zephyr/logging/log.h>

LOG_MODULE_DECLARE(k4_hello, LOG_LEVEL_INF);

/* ---- timing. Change these and regenerate the README table. -------------- */
#define LEAD_IN_MS      5000
#define SLOT_MS         3000
#define SLOT_ON_MS      2500
#define PASS_GAP_MS     8000
#define CYCLE_TAIL_MS  10000

/* ---- the pin list, in slot order ---------------------------------------- */
struct sweep_pin {
	const struct device *dev;
	uint8_t port;
	uint8_t pin;
};

/*
 * Written out entry by entry rather than generated by a list macro: this file
 * cannot be compile-tested from here, and a macro that expands wrongly costs a
 * whole build cycle. Port sizes from the SoC devicetree: P0 = 5, P1 = 16,
 * P2 = 11. SLOT ORDER IS THE CONTRACT -- it must match the table in README.md.
 */
static const struct sweep_pin pins[] = {
	{ DEVICE_DT_GET(DT_NODELABEL(gpio0)), 0,  0 },
	{ DEVICE_DT_GET(DT_NODELABEL(gpio0)), 0,  1 },
	{ DEVICE_DT_GET(DT_NODELABEL(gpio0)), 0,  2 },
	{ DEVICE_DT_GET(DT_NODELABEL(gpio0)), 0,  3 },
	{ DEVICE_DT_GET(DT_NODELABEL(gpio0)), 0,  4 },
	{ DEVICE_DT_GET(DT_NODELABEL(gpio1)), 1,  0 },
	{ DEVICE_DT_GET(DT_NODELABEL(gpio1)), 1,  1 },
	{ DEVICE_DT_GET(DT_NODELABEL(gpio1)), 1,  2 },
	{ DEVICE_DT_GET(DT_NODELABEL(gpio1)), 1,  3 },
	{ DEVICE_DT_GET(DT_NODELABEL(gpio1)), 1,  4 },
	{ DEVICE_DT_GET(DT_NODELABEL(gpio1)), 1,  5 },
	{ DEVICE_DT_GET(DT_NODELABEL(gpio1)), 1,  6 },
	{ DEVICE_DT_GET(DT_NODELABEL(gpio1)), 1,  7 },
	{ DEVICE_DT_GET(DT_NODELABEL(gpio1)), 1,  8 },
	{ DEVICE_DT_GET(DT_NODELABEL(gpio1)), 1,  9 },
	{ DEVICE_DT_GET(DT_NODELABEL(gpio1)), 1, 10 },
	{ DEVICE_DT_GET(DT_NODELABEL(gpio1)), 1, 11 },
	{ DEVICE_DT_GET(DT_NODELABEL(gpio1)), 1, 12 },
	{ DEVICE_DT_GET(DT_NODELABEL(gpio1)), 1, 13 },
	{ DEVICE_DT_GET(DT_NODELABEL(gpio1)), 1, 14 },
	{ DEVICE_DT_GET(DT_NODELABEL(gpio1)), 1, 15 },
	{ DEVICE_DT_GET(DT_NODELABEL(gpio2)), 2,  0 },
	{ DEVICE_DT_GET(DT_NODELABEL(gpio2)), 2,  1 },
	{ DEVICE_DT_GET(DT_NODELABEL(gpio2)), 2,  2 },
	{ DEVICE_DT_GET(DT_NODELABEL(gpio2)), 2,  3 },
	{ DEVICE_DT_GET(DT_NODELABEL(gpio2)), 2,  4 },
	{ DEVICE_DT_GET(DT_NODELABEL(gpio2)), 2,  5 },
	{ DEVICE_DT_GET(DT_NODELABEL(gpio2)), 2,  6 },
	{ DEVICE_DT_GET(DT_NODELABEL(gpio2)), 2,  7 },
	{ DEVICE_DT_GET(DT_NODELABEL(gpio2)), 2,  8 },
	{ DEVICE_DT_GET(DT_NODELABEL(gpio2)), 2,  9 },
	{ DEVICE_DT_GET(DT_NODELABEL(gpio2)), 2, 10 },
};

#define N_SLOTS ARRAY_SIZE(pins)

/*
 * Skipped in the push-pull pass only. On the K7 these are the LIS2DW12
 * INT1 / INT2 lines -- push-pull outputs from the sensor. Driving a pin that
 * another chip is also driving is the one way this sweep could damage
 * something. Their slots still elapse, dark, so the timing table stays valid.
 * Delete entries once the K4 schematic shows these nets are free.
 */
static const struct { uint8_t port, pin; } PUSH_PULL_SKIP[] = {
	{ 1, 6 },
	{ 1, 7 },
};

static bool push_pull_skipped(uint8_t port, uint8_t pin)
{
	for (size_t i = 0; i < ARRAY_SIZE(PUSH_PULL_SKIP); i++) {
		if (PUSH_PULL_SKIP[i].port == port &&
		    PUSH_PULL_SKIP[i].pin == pin) {
			return true;
		}
	}
	return false;
}

/* Drive one pin for SLOT_ON_MS. Never sleeps -- the caller owns the clock. */
static void slot_light(const struct sweep_pin *sp, bool open_drain)
{
	gpio_flags_t flags = open_drain ? (GPIO_OUTPUT_HIGH | GPIO_OPEN_DRAIN)
					: GPIO_OUTPUT_LOW;
	int active = open_drain ? 0 : 1;
	int err;

	if (!device_is_ready(sp->dev)) {
		return;
	}

	err = gpio_pin_configure(sp->dev, sp->pin, flags);
	if (err) {
		/* NFC (P1.02/P1.03) and crystal pins can be claimed by UICR.
		 * A refusal is information; the slot still elapses dark. */
		LOG_WRN("P%u.%02u: configure failed (%d)", sp->port, sp->pin, err);
		return;
	}

	gpio_pin_set_raw(sp->dev, sp->pin, active);
	k_msleep(SLOT_ON_MS);
	gpio_pin_set_raw(sp->dev, sp->pin, !active);

	/* Leave it floating, never latched. */
	gpio_pin_configure(sp->dev, sp->pin, GPIO_DISCONNECTED);
}

/*
 * Sleep until an absolute uptime. Self-correcting: every slot is measured from
 * the pass base, so per-call overhead cannot accumulate over a 200 s cycle.
 * Plain k_msleep on a computed remainder, so it depends on no optional kernel
 * timeout features.
 */
static void sleep_until(int64_t deadline_ms)
{
	int64_t now = k_uptime_get();

	if (deadline_ms > now) {
		k_msleep((int32_t)(deadline_ms - now));
	}
}

/* Runs one pass, every slot anchored to `base` so nothing drifts. */
static void timed_pass(int64_t base, bool open_drain)
{
	LOG_INF("=== PASS %c: %s ===", open_drain ? 'A' : 'B',
		open_drain ? "open-drain, sinking (active-LOW LED)"
			   : "push-pull, sourcing (active-HIGH LED)");

	for (size_t i = 0; i < N_SLOTS; i++) {
		const struct sweep_pin *sp = &pins[i];

		sleep_until(base + (int64_t)i * SLOT_MS);

		if (!open_drain && push_pull_skipped(sp->port, sp->pin)) {
			LOG_INF("slot %2u  P%u.%02u  SKIPPED (external output?)",
				(unsigned)i, sp->port, sp->pin);
			continue;
		}

		LOG_INF("slot %2u  P%u.%02u", (unsigned)i, sp->port, sp->pin);
		slot_light(sp, open_drain);
	}
}

void k4_pin_sweep(void)
{
	uint32_t cycle = 0;

	BUILD_ASSERT(N_SLOTS == 32, "expected 32 GPIOs across P0/P1/P2");

	LOG_INF("K4 timed pin sweep -- %u slots x %u ms, two polarity passes",
		(unsigned)N_SLOTS, SLOT_MS);
	LOG_INF("Start a stopwatch AT RESET. slot = (t - pass_start) / 3 s.");
	LOG_INF("Pass A starts t=%u.0 s (active-low), pass B t=%u.0 s (active-high)",
		LEAD_IN_MS / 1000,
		(LEAD_IN_MS + N_SLOTS * SLOT_MS + PASS_GAP_MS) / 1000);

	while (1) {
		int64_t cycle_start = k_uptime_get();
		int64_t pass_a = cycle_start + LEAD_IN_MS;
		int64_t pass_b = pass_a + (int64_t)N_SLOTS * SLOT_MS + PASS_GAP_MS;

		LOG_INF("---------- cycle %u ----------", ++cycle);
		timed_pass(pass_a, true);
		timed_pass(pass_b, false);

		sleep_until(pass_b + (int64_t)N_SLOTS * SLOT_MS +
			    CYCLE_TAIL_MS);
	}
}
```

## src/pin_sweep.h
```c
/* SPDX-License-Identifier: Apache-2.0 */
#ifndef K4_PIN_SWEEP_H
#define K4_PIN_SWEEP_H

/* Never returns. Built only when CONFIG_K4_PIN_SWEEP=y. */
void k4_pin_sweep(void);

#endif /* K4_PIN_SWEEP_H */
```
